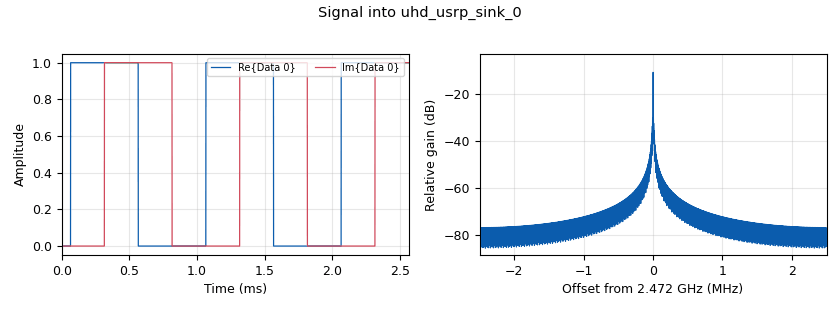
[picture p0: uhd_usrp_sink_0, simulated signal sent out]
options:
  parameters:
    generate_options: qt_gui
    id: barrageTrial
    output_language: python
    title: Not titled yet
  states: {}

blocks:
- name: samp_rate
  id: variable
  parameters:
    value: '5000000'
  states: {}
- name: analog_sig_source_x_0
  id: analog_sig_source_x
  parameters:
    amp: '1'
    freq: '1000'
    offset: '0'
    phase: '0'
    samp_rate: samp_rate
    type: complex
    waveform: analog.GR_SQR_WAVE
  states: {}
- name: uhd_usrp_sink_0
  id: uhd_usrp_sink
  parameters:
    ant0: '"TX/RX"'
    bw0: '40000000'
    center_freq0: '2472000000'
    gain0: '80'
    samp_rate: samp_rate
    sync: sync
    type: fc32
  states: {}

connections:
- [analog_sig_source_x_0, '0', uhd_usrp_sink_0, '0']

metadata:
  file_format: 1
